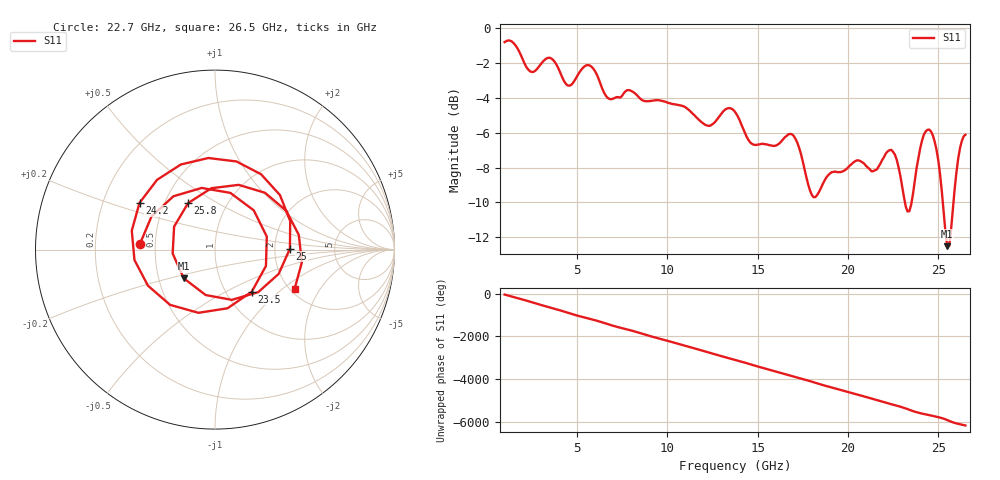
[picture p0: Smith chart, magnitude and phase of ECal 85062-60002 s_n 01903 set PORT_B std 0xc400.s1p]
!Created with skrf (http://scikit-rf.org).
# Hz S RI R 50.0
!freq ReS11 ImS11
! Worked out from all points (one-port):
!   256 points, 1 GHz to 26.5 GHz, reference 50 ohm
!   lowest |S11| = -12.5 dB at 25.5 GHz (marker M1), VSWR 1.62, Z = 33.6 - j11.4 ohm
!   |S11| at or under -10 dB: 23.15 GHz to 23.52 GHz (366.7 MHz wide, 1.57 % of centre); 25.25 GHz to 25.84 GHz (591.3 MHz wide, 2.31 % of centre)
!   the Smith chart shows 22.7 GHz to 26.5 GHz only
!   S11 on the Smith chart (normalised r, x): 22.7 GHz: 0.41, +0.03; 23.5 GHz: 1.31, -0.68; 24.2 GHz: 0.36, +0.25; 25 GHz: 2.43, +0.03; 25.8 GHz: 0.66, +0.37; 26.5 GHz: 2.11, -1.22
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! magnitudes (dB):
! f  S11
! 1 GHz  -0.8
! 2.4 GHz  -2.5
! 3.5 GHz  -1.7
! 4.2 GHz  -2.8
! 4.6 GHz  -3.3
! 5.7 GHz  -2.1
! 6.7 GHz  -4.0
! 7.4 GHz  -4.0
! 10.6 GHz  -4.4
! 12.3 GHz  -5.6
! 13.8 GHz  -4.9
! 14.8 GHz  -6.7
! 17 GHz  -6.2
! 18.1 GHz  -9.7
! 20.2 GHz  -7.8
! 21.4 GHz  -8.2
! 22.4 GHz  -7.0
! 22.7 GHz  -7.6
! 23.4 GHz  -10.5
! 23.5 GHz  -10.1
! 24.2 GHz  -6.1
! 24.6 GHz  -5.9
! 25 GHz  -7.6
! 25.5 GHz  -12.5
! 25.6 GHz  -12.5
! 25.8 GHz  -10.5
! 26.1 GHz  -7.5
! 26.5 GHz  -6.1
